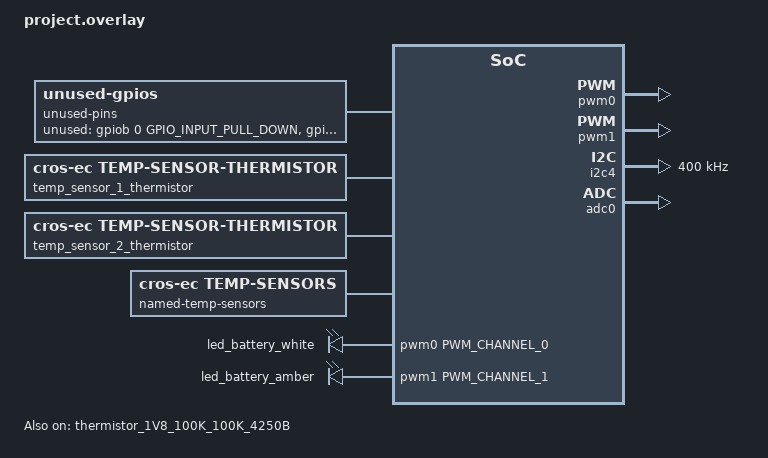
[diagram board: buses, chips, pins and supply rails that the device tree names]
/* Copyright 2023 The ChromiumOS Authors
 * Use of this source code is governed by a BSD-style license that can be
 * found in the LICENSE file.
 */

/* Corsola program common DTS includes */

#include "../common.dtsi"
#include "../power_signal.dtsi"
#include "../usba.dtsi"
#include "../ite_adc.dtsi"
#include "../ite_gpio.dtsi"
#include "../ite_keyboard.dtsi"
#include "../ite_i2c.dtsi"
#include "../ite_interrupts.dtsi"
/*Chinchou and Kingler use the same motionsense */
#include "../npcx_motionsense.dtsi"
#include "../ite_usbc.dtsi"
#include "../ite_shi.dtsi"

#include <cros/thermistor/thermistor.dtsi>
#include <dt-bindings/battery.h>

/ {
	aliases {
		bma4xx-int = &lid_accel;
	};

	motionsense-sensor-info {
		compatible = "cros-ec,motionsense-sensor-info";

		/*
		 * list of GPIO interrupts that have to
		 * be enabled at initial stage
		 */
		sensor-irqs = <&int_base_imu &int_lid_imu>;
	};

	batteries {
		default_battery: c31n2005 {
			compatible = "smp,c31n2005", "battery-smart";
	
		};
	};

	gpio-interrupts {
		/delete-node/ x_ec_gpio2;

		int_base_imu: base_imu {
			irq-pin = <&base_imu_int_l>;
			flags = <GPIO_INT_EDGE_FALLING>;
			handler = "bmi3xx_interrupt";
		};
		int_lid_imu: lid_imu {
			irq-pin = <&lid_accel_int_l>;
			flags = <GPIO_INT_EDGE_FALLING>;
			handler = "bma4xx_interrupt";
			//handler = "bmi3xx_interrupt";
		};
		int_x_ec_gpio2: x_ec_gpio2 {
			irq-pin = <&gpio_x_ec_gpio2>;
			flags = <GPIO_INT_EDGE_BOTH>;
			handler = "hdmi_hpd_interrupt";
		};

	};

	named-gpios {
		compatible = "named-gpios";

		ec_en_pp3300_ucam: ec_en_pp3300_ucam{
			gpios = <&gpioa 2 GPIO_OUTPUT_LOW>;
		};

		ec_en_u2hub: ec_en_u2hub{
			gpios = <&gpioa 3 GPIO_OUTPUT_LOW>;
		};

		usb_a1_fault_odl: usb_a1_fault_odl {
			gpios = <&gpioa 6 GPIO_INPUT>;
		};

		en_pp5000_usb_a1_vbus_x: en_pp5000_usb_a1_vbus_x{
			gpios = <&gpioa 7 GPIO_OUTPUT_LOW>;
		};
	};

	unused-pins {
		compatible = "unused-gpios";

		unused-gpios =
			<&gpiob 0 GPIO_INPUT_PULL_DOWN>,
			<&gpiob 1 GPIO_INPUT_PULL_DOWN>,
			<&gpiod 2 GPIO_INPUT_PULL_DOWN>,
			<&gpiod 7 GPIO_INPUT_PULL_DOWN>,
			<&gpiof 1 GPIO_INPUT_PULL_DOWN>,
			<&gpiog 2 GPIO_INPUT_PULL_DOWN>,
			<&gpiog 4 GPIO_INPUT_PULL_DOWN>,
			<&gpiog 5 GPIO_INPUT_PULL_DOWN>,
			<&gpiog 6 GPIO_INPUT_PULL_DOWN>,
			<&gpiog 7 GPIO_INPUT_PULL_DOWN>,
			<&gpioh 1 GPIO_INPUT_PULL_DOWN>,
			<&gpioh 2 GPIO_INPUT_PULL_DOWN>,
			<&gpioh 6 GPIO_INPUT_PULL_DOWN>,
			<&gpioi 1 GPIO_INPUT_PULL_DOWN>,
			<&gpioi 2 GPIO_INPUT_PULL_DOWN>,
			<&gpioi 3 GPIO_INPUT_PULL_DOWN>,
			<&gpioi 5 GPIO_INPUT_PULL_DOWN>,
			<&gpiom 0 GPIO_INPUT_PULL_DOWN>,
			<&gpiom 1 GPIO_INPUT_PULL_DOWN>,
			<&gpiom 4 GPIO_INPUT_PULL_DOWN>,
			<&gpiom 6 (GPIO_INPUT_PULL_DOWN | GPIO_VOLTAGE_1P8)>;
	};

	named-adc-channels {
		compatible = "named-adc-channels";

		adc_temp_sensor_1: adc-temp-sensor-1 {
			enum-name = "ADC_TEMP_SENSOR_1";
			io-channels = <&adc0 6>;
		};
		adc_temp_sensor_2: adc-temp-sensor-2 {
			enum-name = "ADC_TEMP_SENSOR_2";
			io-channels = <&adc0 7>;
		};
	};

	temp_sensor_1_thermistor: sensor-1-thermistor {
		compatible = "cros-ec,temp-sensor-thermistor";
		thermistor = <&thermistor_1V8_100K_100K_4250B>;
		adc = <&adc_temp_sensor_1>;
	};

	temp_sensor_2_thermistor: sensor-2-thermistor {
		compatible = "cros-ec,temp-sensor-thermistor";
		thermistor = <&thermistor_1V8_100K_100K_4250B>;
		adc = <&adc_temp_sensor_2>;
	};

	named-temp-sensors {
		compatible = "cros-ec,temp-sensors";
		temp_sensor_1 {
			sensor = <&temp_sensor_1_thermistor>;
		};
		temp_sensor_2 {
			sensor = <&temp_sensor_2_thermistor>;
		};
	};

	named-i2c-ports {
		compatible = "named-i2c-ports";

		/delete-node/ usb-c1;

		i2c_hdmi: i2c_hdmi {
			i2c-port = <&i2c4>;
			enum-names = "I2C_PORT_USB_C1",
				"I2C_PORT_USB_MUX1";
		};

	};

	cros-keyscan {
		compatible = "cros-ec,keyscan";

		debounce-down = <15000>;
		debounce-up = <15000>;

		actual-key-mask = <
			0x1c	/* C0 */
			0xff	/* C1 */
			0xff	/* C2 */
			0xff	/* C3 */
			0xff	/* C4 */
			0xff	/* C5 */
			0xff	/* C6 */
			0xa4	/* C7 */
			0xff	/* C8 */
			0xff	/* C9 */
			0x15	/* C10 */
			0xff	/* C11 */
			0xca	/* C12 */
			0xc4     /*C13 */
			0x0a     /*C14 */
			>;
	};
	
	Chinchou-fw-config {
		compatible = "cros-ec,cbi-fw-config";

		/*
		 * FW_CONFIG field to indicate the device is clamshell
		 * or convertible.
		 */
		form_factor {
			enum-name = "FORM_FACTOR";
			start = <13>;
			size = <3>;

			convertible {
				compatible = "cros-ec,cbi-fw-config-value";
				enum-name = "CONVERTIBLE";
				value = <1>;
			};
			clamshell {
				compatible = "cros-ec,cbi-fw-config-value";
				enum-name = "CLAMSHELL";
				value = <0>;
			};
		};

		/* FW_CONFIG field to indicate which DB is attached. */
		db_config: db {
			enum-name = "DB";
			start = <0>;
			size = <1>;

			sub-board-1 {
				compatible = "cros-ec,cbi-fw-config-value";
				enum-name = "DB_NONE";
				value = <0>;
			};
		};
	};

	led-colors {
		compatible = "cros-ec,led-policy";

		bat-power-state-charge-1 {
			charge-state = "LED_PWRS_CHARGE";
			/* Battery display percent range (>= 0, <= 97%) */
			batt-lvl = <BATTERY_LEVEL_EMPTY 97>;

			battery-led {
				led-id = "EC_LED_ID_BATTERY_LED";

				color-0 {
					led-color = "LED_AMBER";
				};
			};
		};

		bat-power-state-charge-2 {
			charge-state = "LED_PWRS_CHARGE";
			/* Battery display percent range (>= 98, <= 99%) */
			batt-lvl = <98 99>;

			battery-led {
				led-id = "EC_LED_ID_BATTERY_LED";

				color-0 {
					led-color = "LED_AMBER";
				};
			};
		};

		bat-power-state-near-full {
			charge-state = "LED_PWRS_CHARGE_NEAR_FULL";

			battery-led {
				led-id = "EC_LED_ID_BATTERY_LED";

				color-0 {
					led-color = "LED_WHITE";
				};
			};
		};

		bat-power-state-discharge-s0 {
			charge-state = "LED_PWRS_DISCHARGE";
			chipset-state = "POWER_S0";

			battery-led {
				led-id = "EC_LED_ID_BATTERY_LED";

				color-0 {
					led-color = "LED_WHITE";
				};
			};
		};

		bat-power-state-discharge-s3 {
			charge-state = "LED_PWRS_DISCHARGE";
			chipset-state = "POWER_S3";

			battery-led {
				led-id = "EC_LED_ID_BATTERY_LED";

				color-0 {
					led-color = "LED_WHITE";
					period-ms = <1000>;
				};
				color-1 {
					led-color = "LED_OFF";
					period-ms = <3000>;
				};
			};
		};

		bat-power-state-discharge-s5 {
			charge-state = "LED_PWRS_DISCHARGE";
			chipset-state = "POWER_S5";

			battery-led {
				led-id = "EC_LED_ID_BATTERY_LED";

				color-0 {
					led-color = "LED_OFF";
				};
			};
		};

		bat-power-state-discharge-s0-bat-low {
			charge-state = "LED_PWRS_DISCHARGE";
			chipset-state = "POWER_S0";
			batt-lvl = <BATTERY_LEVEL_EMPTY 7>;

			battery-led {
				led-id = "EC_LED_ID_BATTERY_LED";

				color-0 {
					led-color = "LED_AMBER";
					period-ms = <1000>;
				};
				color-1 {
					led-color = "LED_OFF";
					period-ms = <3000>;
				};
			};
		};

		bat-power-state-s0-error {
			charge-state = "LED_PWRS_ERROR";
			chipset-state = "POWER_S0";

			battery-led {
				led-id = "EC_LED_ID_BATTERY_LED";

				color-0 {
					led-color = "LED_AMBER";
					period-ms = <1000>;
				};
				color-1 {
					led-color = "LED_OFF";
					period-ms = <1000>;
				};
			};
		};

		bat-power-state-s3-error {
			charge-state = "LED_PWRS_ERROR";
			chipset-state = "POWER_S3";

			battery-led {
				led-id = "EC_LED_ID_BATTERY_LED";

				color-0 {
					led-color = "LED_WHITE";
					period-ms = <1000>;
				};
				color-1 {
					led-color = "LED_OFF";
					period-ms = <3000>;
				};
			};
		};

		bat-power-state-s5-error {
			charge-state = "LED_PWRS_ERROR";
			chipset-state = "POWER_S5";

			battery-led {
				led-id = "EC_LED_ID_BATTERY_LED";

				color-0 {
					led-color = "LED_OFF";
				};
			};
		};

		/* Chinchou LED power idle */
		power-state-idle {
			charge-state = "LED_PWRS_IDLE";

			battery-led {
				led-id = "EC_LED_ID_BATTERY_LED";

				color-0 {
					led-color = "LED_WHITE";
				};
			};
		};

		/* Chinchou LED power forced idle */
		power-state-forced-idle {
			charge-state = "LED_PWRS_FORCED_IDLE";

			battery-led {
				led-id = "EC_LED_ID_BATTERY_LED";

				color-0 {
					led-color = "LED_AMBER";
					period-ms = <2000>;
				};
				color-1 {
					led-color = "LED_WHITE";
					period-ms = <2000>;
				};
			};
		};
	};

	pwmleds {
		compatible = "pwm-leds";

		led_battery_white: ec_led1_odl {
			pwms = <&pwm0 PWM_CHANNEL_0 PWM_HZ(324) PWM_POLARITY_INVERTED>;
		};
		led_battery_amber: ec_led2_odl {
			pwms = <&pwm1 PWM_CHANNEL_1 PWM_HZ(324) PWM_POLARITY_INVERTED>;
		};
	};

	pwm-led-pins {
		compatible = "cros-ec,pwm-led-pins";

		combo_led: combo-led {
			led-id = "EC_LED_ID_BATTERY_LED";
			led-pwms = <&led_battery_amber &led_battery_white>;

			color-battery-off {
				led-color = "LED_OFF";
				led-values = <0 0>;
			};

			color-battery-amber {
				led-color = "LED_AMBER";
				led-values = <100 0>;
			};

			color-battery-white {
				led-color = "LED_WHITE";
				led-values = <0 100>;
			};
		};
	};
};

/* LED1-WHITE */
&pwm0 {
	status = "okay";
	prescaler-cx = <PWM_PRESCALER_C4>;
	pinctrl-0 = <&pwm0_gpa0_default>;
	pinctrl-names = "default";
};

/* LED2-Amber */
&pwm1 {
	status = "okay";
	prescaler-cx = <PWM_PRESCALER_C4>;
	pinctrl-0 = <&pwm1_gpa1_default>;
	pinctrl-names = "default";
};

&i2c4 {
	/* EC_I2C_HDMI */
	label = "I2C_HDMI";
	status = "okay";
	clock-frequency = <I2C_BITRATE_FAST>;
	pinctrl-0 = <&i2c4_clk_gpe0_default
		     &i2c4_data_gpe7_default>;
	pinctrl-names = "default";
	prescale-scl-low = <1>;
};

&adc0 {
	status = "okay";
	pinctrl-0 = <&adc0_ch0_gpi0_default
		     &adc0_ch1_gpi1_default
		     &adc0_ch2_gpi2_default
			 &adc0_ch6_gpi6_default
		     &adc0_ch7_gpi7_default>;
	pinctrl-names = "default";
};

&thermistor_1V8_100K_100K_4250B{
	status = "okay";
};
